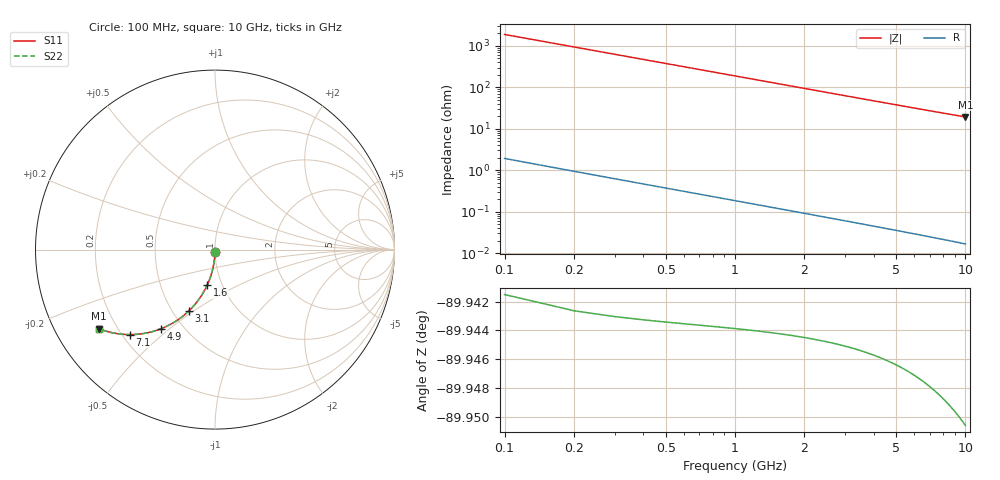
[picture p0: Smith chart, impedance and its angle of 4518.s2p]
# Hz S RI R 50.00
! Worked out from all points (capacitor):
!   100 points, 100 MHz to 10 GHz, reference 50 ohm
!   read as one part in shunt: C = 845 fF near 100 MHz
!   lowest |Z| = 19.3 ohm at 10 GHz (marker M1)
!   S11 on the Smith chart (normalised r, x): 100 MHz: 1.00, -0.03; 1.6 GHz: 0.85, -0.35; 3.1 GHz: 0.60, -0.48; 4.9 GHz: 0.38, -0.47; 7.1 GHz: 0.23, -0.39; 10 GHz: 0.13, -0.30
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1e8  -0.000103 -0.0129  0.9997 -0.0136  0.9997 -0.0136  -0.000103 -0.0129
2e8  -0.000643 -0.0258  0.9992 -0.0272  0.9992 -0.0272  -0.000643 -0.0258
3e8  -0.00153 -0.0387  0.9983 -0.0408  0.9983 -0.0408  -0.00153 -0.0387
4e8  -0.00277 -0.0516  0.997 -0.0543  0.997 -0.0543  -0.00277 -0.0516
5e8  -0.00436 -0.0643  0.9955 -0.0678  0.9955 -0.0678  -0.00436 -0.0643
6e8  -0.00629 -0.0771  0.9935 -0.0812  0.9935 -0.0812  -0.00629 -0.0771
7e8  -0.00856 -0.0897  0.9912 -0.0946  0.9912 -0.0946  -0.00856 -0.0897
9e8  -0.0141 -0.1147  0.9857 -0.121  0.9857 -0.121  -0.0141 -0.1147
1.2e9  -0.0248 -0.1512  0.975 -0.1596  0.975 -0.1596  -0.0248 -0.1512
1.6e9  -0.0433 -0.1977  0.9564 -0.2089  0.9564 -0.2089  -0.0433 -0.1977
1.8e9  -0.0542 -0.2199  0.9455 -0.2325  0.9455 -0.2325  -0.0542 -0.2199
2.4e9  -0.0926 -0.2811  0.9071 -0.298  0.9071 -0.298  -0.0926 -0.2811
3.1e9  -0.1456 -0.3416  0.8539 -0.3634  0.8539 -0.3634  -0.1456 -0.3416
3.4e9  -0.1703 -0.3636  0.8292 -0.3875  0.8292 -0.3875  -0.1703 -0.3636
4.1e9  -0.2302 -0.4062  0.7692 -0.4351  0.7692 -0.4351  -0.2302 -0.4062
4.9e9  -0.2999 -0.4406  0.6993 -0.4752  0.6993 -0.4752  -0.2999 -0.4406
5.1e9  -0.3171 -0.447  0.682 -0.4831  0.682 -0.4831  -0.3171 -0.447
5.9e9  -0.3841 -0.465  0.6148 -0.507  0.6148 -0.507  -0.3841 -0.465
6.7e9  -0.4466 -0.4728  0.552 -0.5206  0.552 -0.5206  -0.4466 -0.4728
7.1e9  -0.4759 -0.4736  0.5226 -0.5243  0.5226 -0.5243  -0.4759 -0.4736
8.4e9  -0.5613 -0.4654  0.4367 -0.5258  0.4367 -0.5258  -0.5613 -0.4654
1e10  -0.6465 -0.4408  0.3507 -0.5134  0.3507 -0.5134  -0.6465 -0.4408
